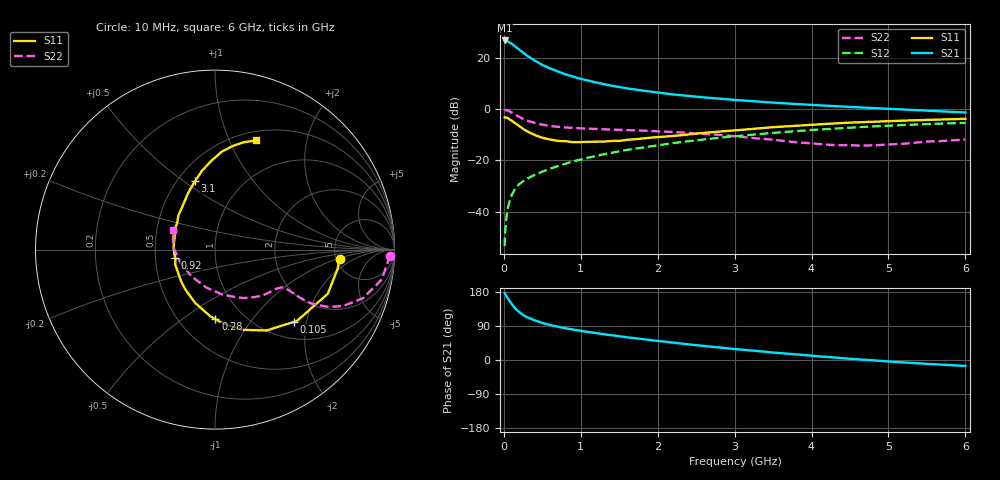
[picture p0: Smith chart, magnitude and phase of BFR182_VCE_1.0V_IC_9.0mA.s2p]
! Infineon Technologies  Discrete & RF Semiconductors
! BFR182
! VCE =  1.0 V,  IC =  9.0 mA
! Common Emitter S-Parameters:  Nov 2015
# GHz  S  MA  R  50
!  f  S11  S21  S12  S22
! GHz  MAG  ANG  MAG  ANG  MAG  ANG  MAG  ANG
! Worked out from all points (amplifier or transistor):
!   210 points, 10 MHz to 6 GHz, reference 50 ohm
!   highest |S21| = 26.9 dB at 10 MHz (marker M1)
!   |S21| within 3 dB of that: start of sweep to 175.9 MHz
!   unconditionally stable (mu >= 1): 695.4 MHz to 2.836 GHz
!   at 185 MHz: K = 0.50, MSG = 26.7 dB, |S12| = -29.7 dB
!   at 1.52 GHz: K = 1.08, MAG = 10.8 dB, |S12| = -16.3 dB
!   at 6 GHz: K = 0.92, MSG = 2.0 dB, |S12| = -5.3 dB
!   S11 on the Smith chart (normalised r, x): 10 MHz: 5.34, -1.13; 105 MHz: 1.35, -1.69; 280 MHz: 0.74, -0.68; 920 MHz: 0.63, -0.06; 3.1 GHz: 0.61, +0.55; 6 GHz: 0.60, +1.26
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0.01  0.6964 -4.5  22.14 176.5  0.0021 89.9  0.9746 -2.0
0.02  0.6913 -9.0  21.93 172.8  0.0045 86.6  0.965 -4.1
0.05  0.6748 -21.4  21.32 162.9  0.0114 79.7  0.9441 -10.1
0.1  0.6052 -41.0  19.33 148.0  0.0207 73.2  0.8692 -18.1
0.105  0.5961 -42.5  19.04 146.9  0.0214 72.4  0.86 -18.6
0.15  0.5342 -57.6  16.84 135.3  0.0283 67.4  0.7809 -23.7
0.2  0.4711 -71.4  14.69 126.2  0.0344 64.2  0.7086 -26.8
0.24  0.4237 -81.1  13.14 120.2  0.0379 63.1  0.6598 -28.1
0.28  0.3875 -89.7  11.84 115.3  0.0416 62.5  0.6191 -29.0
0.3  0.3724 -94.1  11.23 112.8  0.0435 62.3  0.6 -29.3
0.4  0.3162 -110.6  8.97 104.7  0.052 63.0  0.5371 -29.5
0.5  0.2776 -126.3  7.364 97.7  0.0601 63.6  0.4978 -29.1
0.6  0.2561 -138.3  6.282 92.3  0.0687 64.4  0.471 -28.9
0.7  0.2407 -149.4  5.473 87.7  0.0772 65.3  0.4526 -28.9
0.92  0.2269 -168.6  4.243 79.6  0.0972 65.3  0.4296 -29.4
1.02  0.2284 -177.2  3.864 76.3  0.1057 65.6  0.422 -30.1
1.4  0.2407 159.0  2.88 65.3  0.1406 64.7  0.4005 -33.8
2.02  0.2864 133.3  2.096 49.9  0.1999 60.6  0.3706 -42.9
3.1  0.3967 106.2  1.487 27.2  0.3056 50.2  0.2867 -67.0
4.1  0.5078 90.6  1.193 9.6  0.4011 38.4  0.2086 -109.0
5.1  0.593 79.0  1.005 -5.1  0.4852 25.8  0.2077 -164.5
6  0.6506 69.3  0.864 -15.8  0.541 13.3  0.2576 155.1
